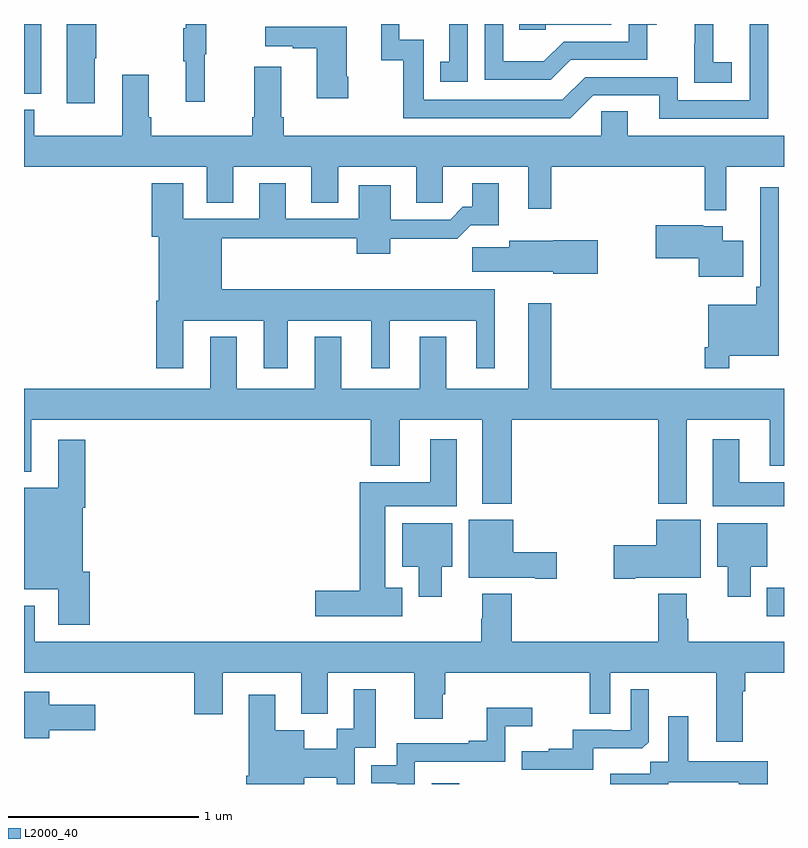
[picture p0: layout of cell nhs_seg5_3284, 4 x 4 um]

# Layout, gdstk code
import gdstk
lib = gdstk.Library(unit=1e-6, precision=1e-09)
def R(c, l, rs):  # rectangles x0, y0, x1, y1
    for r in rs: c.add(gdstk.rectangle(r[:2], r[2:], *l))
def P(c, l, *ps):  # polygons
    for p in ps: c.add(gdstk.Polygon(p, *l))
L2000_40 = (2000, 40)

nhs_seg5_3284 = lib.new_cell('nhs_seg5_3284')
R(nhs_seg5_3284, L2000_40, [(303.147,898.799,303.291,898.804), (304.91,899.681,305,899.833), (301,902.433,301.09,902.799)])
P(nhs_seg5_3284, L2000_40, [(304.917,902.799),(304.821,902.799),(304.821,902.397),(304.44,902.397),(304.44,902.52),(303.954,902.52),(303.834,902.4),(303.105,902.4),(303.105,902.715),(302.976,902.715),(302.976,902.799),(302.879,902.799),(302.879,902.607),(302.997,902.607),(302.997,902.304),(303.876,902.304),(303.996,902.424),(304.343,902.424),(304.343,902.301),(304.917,902.301)],
  [(304.726,902.599),(304.628,902.599),(304.628,902.799),(304.529,902.799),(304.529,902.695),(304.528,902.695),(304.528,902.489),(304.726,902.489)],
  [(303.747,902.796),(304.092,902.796),(304.092,902.799),(303.607,902.799),(303.607,902.769),(303.747,902.769)],
  [(303.877,902.61),(304.281,902.61),(304.281,902.795),(304.33,902.795),(304.33,902.799),(304.182,902.799),(304.182,902.706),(303.84,902.706),(303.736,902.602),(303.522,902.602),(303.522,902.799),(303.426,902.799),(303.426,902.505),(303.772,902.505)],
  [(301.372,902.62),(301.38,902.62),(301.38,902.799),(301.226,902.799),(301.226,902.382),(301.372,902.382)],
  [(303.336,902.799),(303.239,902.799),(303.239,902.601),(303.19,902.601),(303.19,902.496),(303.336,902.496)],
  [(301.952,902.64),(301.96,902.64),(301.96,902.799),(301.85,902.799),(301.85,902.777),(301.839,902.777),(301.839,902.603),(301.85,902.603),(301.85,902.391),(301.952,902.391)],
  [(302.706,902.521),(302.698,902.521),(302.698,902.785),(302.271,902.785),(302.271,902.681),(302.414,902.681),(302.414,902.671),(302.54,902.671),(302.54,902.409),(302.706,902.409)],
  [(301.961,901.858),(302.101,901.858),(302.101,902.048),(302.513,902.048),(302.513,901.858),(302.653,901.858),(302.653,902.048),(303.065,902.048),(303.065,901.858),(303.204,901.858),(303.204,902.048),(303.653,902.048),(303.653,901.827),(303.775,901.827),(303.775,902.048),(304.584,902.048),(304.584,901.82),(304.697,901.82),(304.697,902.048),(305,902.048),(305,902.212),(304.177,902.212),(304.177,902.339),(304.038,902.339),(304.038,902.212),(302.366,902.212),(302.366,902.308),(302.353,902.308),(302.353,902.575),(302.213,902.575),(302.213,902.308),(302.201,902.308),(302.201,902.212),(301.67,902.212),(301.67,902.308),(301.657,902.308),(301.657,902.533),(301.517,902.533),(301.517,902.212),(301.053,902.212),(301.053,902.348),(301,902.348),(301,902.048),(301.961,902.048)],
  [(301.837,901.238),(302.261,901.238),(302.261,900.987),(302.389,900.987),(302.389,901.238),(302.828,901.238),(302.828,900.987),(302.926,900.987),(302.926,901.238),(303.38,901.238),(303.38,900.987),(303.478,900.987),(303.478,901.402),(302.041,901.402),(302.041,901.672),(302.75,901.672),(302.75,901.589),(302.928,901.589),(302.928,901.67),(303.281,901.67),(303.35,901.739),(303.499,901.739),(303.499,901.96),(303.359,901.96),(303.359,901.837),(303.31,901.837),(303.243,901.77),(302.929,901.77),(302.929,901.951),(302.762,901.951),(302.762,901.773),(302.377,901.773),(302.377,901.96),(302.237,901.96),(302.237,901.773),(301.837,901.773),(301.837,901.96),(301.673,901.96),(301.673,901.68),(301.709,901.68),(301.709,901.342),(301.697,901.342),(301.697,900.987),(301.837,900.987)],
  [(304.711,901.052),(304.972,901.052),(304.972,901.939),(304.875,901.939),(304.875,901.417),(304.855,901.417),(304.855,901.321),(304.602,901.321),(304.602,901.099),(304.582,901.099),(304.582,900.987),(304.711,900.987)],
  [(304.786,901.657),(304.678,901.657),(304.678,901.735),(304.574,901.735),(304.574,901.74),(304.326,901.74),(304.326,901.565),(304.55,901.565),(304.55,901.469),(304.786,901.469)],
  [(304.021,901.662),(303.786,901.662),(303.786,901.657),(303.554,901.657),(303.554,901.625),(303.36,901.625),(303.36,901.496),(303.786,901.496),(303.786,901.484),(304.021,901.484)],
  [(303.566,900.716),(304.337,900.716),(304.337,900.275),(304.489,900.275),(304.489,900.716),(304.925,900.716),(304.925,900.473),(305,900.473),(305,900.88),(303.775,900.88),(303.775,901.33),(303.653,901.33),(303.653,900.88),(303.223,900.88),(303.223,901.153),(303.083,901.153),(303.083,900.88),(302.671,900.88),(302.671,901.153),(302.531,901.153),(302.531,900.88),(302.119,900.88),(302.119,901.153),(301.979,901.153),(301.979,900.88),(301,900.88),(301,900.443),(301.039,900.443),(301.039,900.716),(302.825,900.716),(302.825,900.473),(302.977,900.473),(302.977,900.716),(303.413,900.716),(303.413,900.275),(303.566,900.275)],
  [(305,900.388),(304.765,900.388),(304.765,900.613),(304.625,900.613),(304.625,900.26),(305,900.26)],
  [(302.992,899.833),(302.902,899.833),(302.902,900.26),(303.277,900.26),(303.277,900.613),(303.137,900.613),(303.137,900.388),(302.768,900.388),(302.768,899.816),(302.532,899.816),(302.532,899.681),(302.992,899.681)],
  [(301.346,899.916),(301.309,899.916),(301.309,900.254),(301.322,900.254),(301.322,900.61),(301.181,900.61),(301.181,900.358),(301,900.358),(301,899.823),(301.181,899.823),(301.181,899.637),(301.346,899.637)],
  [(304.216,899.885),(304.561,899.885),(304.561,900.19),(304.328,900.19),(304.328,900.056),(304.104,900.056),(304.104,899.878),(304.216,899.878)],
  [(303.805,900.02),(303.574,900.02),(303.574,900.19),(303.341,900.19),(303.341,899.885),(303.692,899.885),(303.692,899.878),(303.805,899.878)],
  [(303.199,899.942),(303.253,899.942),(303.253,900.172),(302.99,900.172),(302.99,899.942),(303.077,899.942),(303.077,899.784),(303.199,899.784)],
  [(304.825,899.942),(304.912,899.942),(304.912,900.172),(304.649,900.172),(304.649,899.942),(304.703,899.942),(304.703,899.784),(304.825,899.784)],
  [(304.783,899.288),(304.796,899.288),(304.796,899.384),(305,899.384),(305,899.548),(304.497,899.548),(304.497,899.669),(304.489,899.669),(304.489,899.8),(304.337,899.8),(304.337,899.548),(303.566,899.548),(303.566,899.8),(303.413,899.8),(303.413,899.669),(303.406,899.669),(303.406,899.548),(301.057,899.548),(301.057,899.738),(301,899.738),(301,899.384),(301.895,899.384),(301.895,899.166),(302.047,899.166),(302.047,899.384),(302.459,899.384),(302.459,899.168),(302.599,899.168),(302.599,899.384),(303.053,899.384),(303.053,899.142),(303.205,899.142),(303.205,899.271),(303.218,899.271),(303.218,899.384),(303.978,899.384),(303.978,899.17),(304.086,899.17),(304.086,899.384),(304.643,899.384),(304.643,899.022),(304.783,899.022)],
  [(302.476,898.832),(302.646,898.832),(302.646,898.799),(302.742,898.799),(302.742,898.989),(302.851,898.989),(302.851,899.299),(302.735,899.299),(302.735,899.09),(302.645,899.09),(302.645,898.984),(302.476,898.984),(302.476,899.083),(302.323,899.083),(302.323,899.269),(302.183,899.269),(302.183,898.843),(302.171,898.843),(302.171,898.799),(302.476,898.799)],
  [(303.997,898.988),(304.255,898.988),(304.287,899.019),(304.287,899.299),(304.194,899.299),(304.194,899.082),(304.094,899.082),(304.094,899.085),(303.887,899.085),(303.887,898.984),(303.763,898.984),(303.763,898.972),(303.619,898.972),(303.619,898.875),(303.997,898.875)],
  [(301.132,899.081),(301.375,899.081),(301.375,899.215),(301.132,899.215),(301.132,899.284),(301,899.284),(301,899.039),(301.132,899.039)],
  [(303.057,898.917),(303.534,898.917),(303.534,899.102),(303.676,899.102),(303.676,899.201),(303.436,899.201),(303.436,899.026),(303.341,899.026),(303.341,899.013),(302.961,899.013),(302.961,898.899),(302.827,898.899),(302.827,898.803),(302.961,898.803),(302.961,898.799),(303.057,898.799)],
  [(304.392,898.808),(304.763,898.808),(304.763,898.799),(304.915,898.799),(304.915,898.918),(304.495,898.918),(304.495,899.155),(304.391,899.155),(304.391,898.916),(304.296,898.916),(304.296,898.852),(304.085,898.852),(304.085,898.799),(304.392,898.799)])

lib.write_gds('nhs_seg5_3284.gds')
